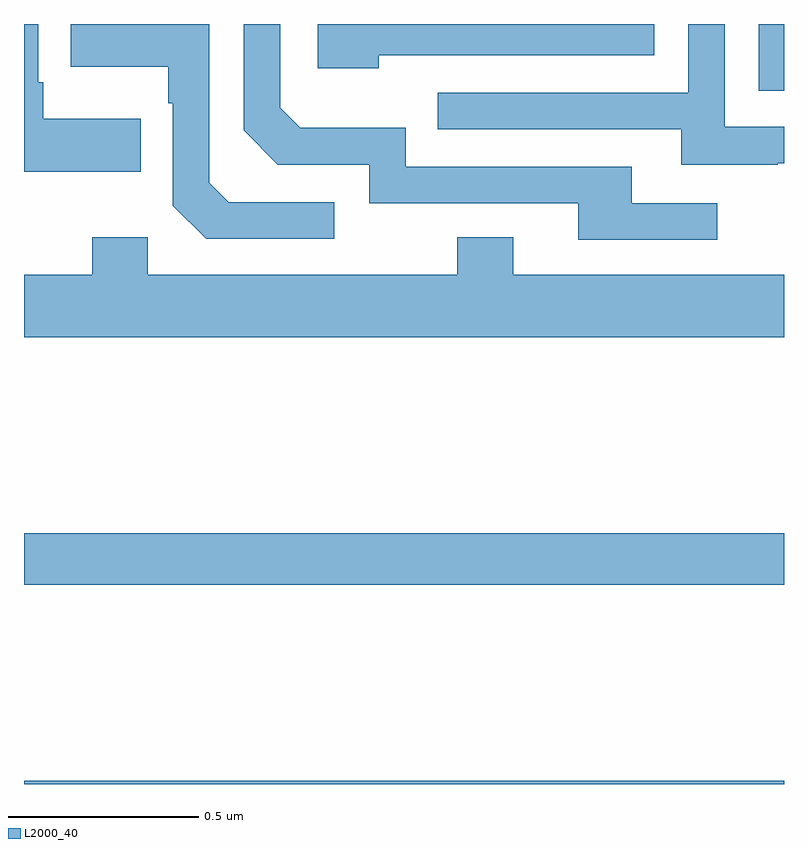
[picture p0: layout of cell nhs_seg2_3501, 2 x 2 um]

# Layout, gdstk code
import gdstk
lib = gdstk.Library(unit=1e-6, precision=1e-09)
def R(c, l, rs):  # rectangles x0, y0, x1, y1
    for r in rs: c.add(gdstk.rectangle(r[:2], r[2:], *l))
def P(c, l, *ps):  # polygons
    for p in ps: c.add(gdstk.Polygon(p, *l))
L2000_40 = (2000, 40)

nhs_seg2_3501 = lib.new_cell('nhs_seg2_3501')
R(nhs_seg2_3501, L2000_40, [(154,639.8,156,639.808), (154,640.324,156,640.46), (155.934,641.625,156,641.8)])
P(nhs_seg2_3501, L2000_40, [(154.934,641.718),(155.658,641.718),(155.658,641.8),(154.773,641.8),(154.773,641.684),(154.934,641.684)],
  [(154.816,641.331),(154.539,641.331),(154.488,641.382),(154.488,641.8),(154.123,641.8),(154.123,641.687),(154.38,641.687),(154.38,641.591),(154.392,641.591),(154.392,641.322),(154.479,641.235),(154.816,641.235)],
  [(155.983,641.433),(156,641.433),(156,641.529),(155.844,641.529),(155.844,641.8),(155.748,641.8),(155.748,641.619),(155.089,641.619),(155.089,641.523),(155.729,641.523),(155.729,641.429),(155.983,641.429)],
  [(154.307,641.551),(154.051,641.551),(154.051,641.647),(154.038,641.647),(154.038,641.8),(154,641.8),(154,641.411),(154.307,641.411)],
  [(155.824,641.328),(155.599,641.328),(155.599,641.424),(155.004,641.424),(155.004,641.527),(154.727,641.527),(154.674,641.58),(154.674,641.8),(154.578,641.8),(154.578,641.52),(154.668,641.43),(154.908,641.43),(154.908,641.328),(155.459,641.328),(155.459,641.232),(155.824,641.232)],
  [(156,641.14),(155.287,641.14),(155.287,641.239),(155.14,641.239),(155.14,641.14),(154.326,641.14),(154.326,641.239),(154.18,641.239),(154.18,641.14),(154,641.14),(154,640.976),(156,640.976)])

lib.write_gds('nhs_seg2_3501.gds')
